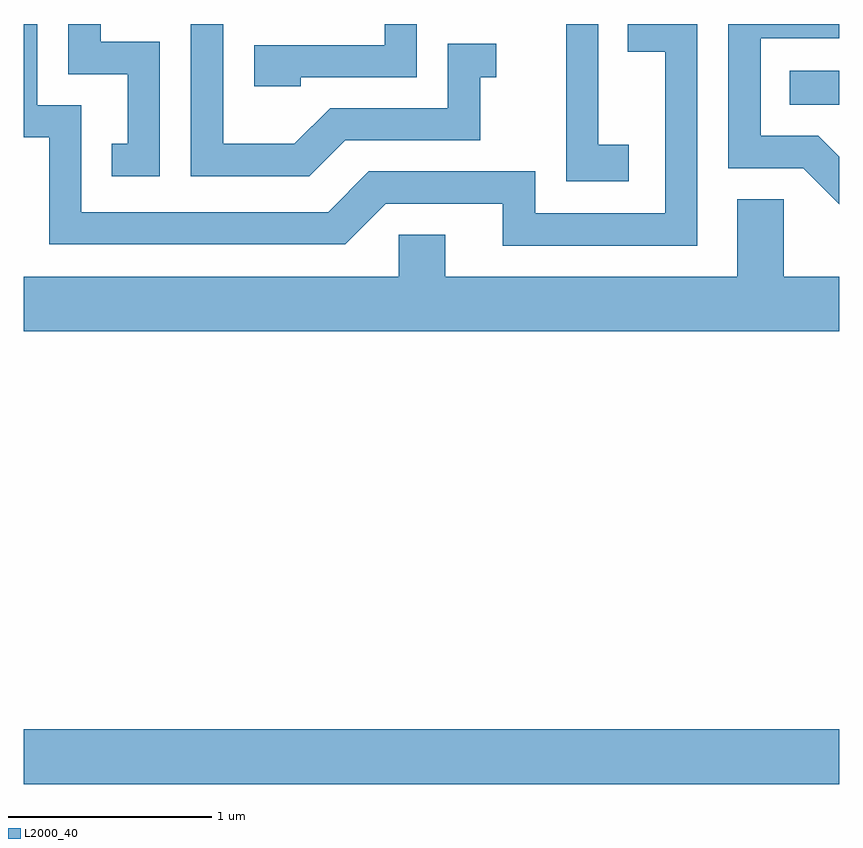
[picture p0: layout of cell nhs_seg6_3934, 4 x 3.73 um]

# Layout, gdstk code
import gdstk
lib = gdstk.Library(unit=1e-6, precision=1e-09)
def R(c, l, rs):  # rectangles x0, y0, x1, y1
    for r in rs: c.add(gdstk.rectangle(r[:2], r[2:], *l))
def P(c, l, *ps):  # polygons
    for p in ps: c.add(gdstk.Polygon(p, *l))
L2000_40 = (2000, 40)

nhs_seg6_3934 = lib.new_cell('nhs_seg6_3934')
R(nhs_seg6_3934, L2000_40, [(303.611,1594.436,307.611,1594.704), (307.368,1597.766,307.611,1597.934)])
P(nhs_seg6_3934, L2000_40, [(307.611,1597.51),(307.507,1597.614),(307.224,1597.614),(307.224,1598.091),(307.611,1598.091),(307.611,1598.162),(307.066,1598.162),(307.066,1597.456),(307.434,1597.456),(307.611,1597.279)],
  [(304.969,1597.901),(305.539,1597.901),(305.539,1598.162),(305.381,1598.162),(305.381,1598.059),(304.741,1598.059),(304.741,1597.856),(304.969,1597.856)],
  [(306.579,1597.569),(306.429,1597.569),(306.429,1598.162),(306.271,1598.162),(306.271,1597.391),(306.579,1597.391)],
  [(304.279,1598.074),(303.989,1598.074),(303.989,1598.162),(303.831,1598.162),(303.831,1597.916),(304.121,1597.916),(304.121,1597.574),(304.043,1597.574),(304.043,1597.416),(304.279,1597.416)],
  [(306.914,1598.162),(306.573,1598.162),(306.573,1598.026),(306.756,1598.026),(306.756,1597.234),(306.119,1597.234),(306.119,1597.439),(305.304,1597.439),(305.104,1597.239),(303.894,1597.239),(303.894,1597.764),(303.679,1597.764),(303.679,1598.162),(303.611,1598.162),(303.611,1597.606),(303.736,1597.606),(303.736,1597.081),(305.187,1597.081),(305.387,1597.281),(305.961,1597.281),(305.961,1597.076),(306.914,1597.076)],
  [(305.187,1597.591),(305.849,1597.591),(305.849,1597.901),(305.928,1597.901),(305.928,1598.064),(305.691,1598.064),(305.691,1597.749),(305.114,1597.749),(304.939,1597.574),(304.589,1597.574),(304.589,1598.162),(304.431,1598.162),(304.431,1597.416),(305.012,1597.416)],
  [(307.611,1596.924),(307.339,1596.924),(307.339,1597.304),(307.111,1597.304),(307.111,1596.924),(305.679,1596.924),(305.679,1597.129),(305.451,1597.129),(305.451,1596.924),(303.611,1596.924),(303.611,1596.656),(307.611,1596.656)])

lib.write_gds('nhs_seg6_3934.gds')
